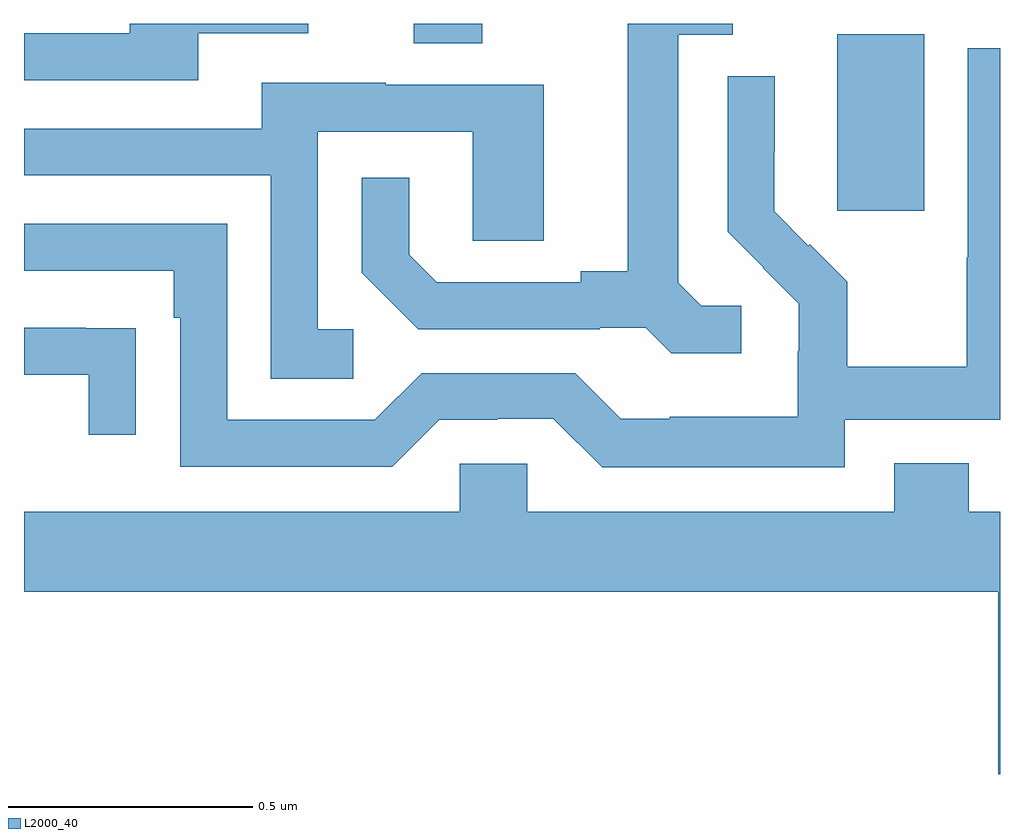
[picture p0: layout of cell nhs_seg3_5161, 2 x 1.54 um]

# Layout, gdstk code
import gdstk
lib = gdstk.Library(unit=1e-6, precision=1e-09)
def R(c, l, rs):  # rectangles x0, y0, x1, y1
    for r in rs: c.add(gdstk.rectangle(r[:2], r[2:], *l))
def P(c, l, *ps):  # polygons
    for p in ps: c.add(gdstk.Polygon(p, *l))
L2000_40 = (2000, 40)

nhs_seg3_5161 = lib.new_cell('nhs_seg3_5161')
R(nhs_seg3_5161, L2000_40, [(176.666,715.017,176.845,715.378), (175.799,715.36,175.939,715.4)])
P(nhs_seg3_5161, L2000_40, [(176.47,714.822),(176.388,714.822),(176.341,714.869),(176.341,715.377),(176.452,715.377),(176.452,715.4),(176.237,715.4),(176.237,714.893),(176.141,714.893),(176.141,714.87),(175.846,714.87),(175.789,714.927),(175.789,715.084),(175.692,715.084),(175.692,714.89),(175.808,714.774),(176.18,714.774),(176.18,714.777),(176.274,714.777),(176.326,714.725),(176.47,714.725)],
  [(175.357,715.38),(175.582,715.38),(175.582,715.4),(175.217,715.4),(175.217,715.38),(175,715.38),(175,715.284),(175.357,715.284)],
  [(176.682,714.588),(177,714.588),(177,715.35),(176.934,715.35),(176.934,714.92),(176.932,714.92),(176.932,714.697),(176.687,714.697),(176.687,714.871),(176.61,714.948),(176.607,714.945),(176.537,715.016),(176.537,715.138),(176.538,715.138),(176.538,715.292),(176.442,715.292),(176.442,714.974),(176.515,714.901),(176.514,714.9),(176.588,714.826),(176.588,714.729),(176.586,714.729),(176.586,714.595),(176.323,714.595),(176.323,714.591),(176.223,714.591),(176.13,714.684),(175.815,714.684),(175.719,714.588),(175.416,714.588),(175.416,714.99),(175,714.99),(175,714.894),(175.307,714.894),(175.307,714.797),(175.32,714.797),(175.32,714.492),(175.755,714.492),(175.851,714.588),(175.97,714.588),(175.97,714.591),(176.085,714.591),(176.185,714.491),(176.682,714.491)],
  [(175.675,714.774),(175.602,714.774),(175.602,715.179),(175.92,715.179),(175.92,714.955),(176.065,714.955),(176.065,715.275),(175.741,715.275),(175.741,715.279),(175.487,715.279),(175.487,715.185),(175,715.185),(175,715.089),(175.506,715.089),(175.506,714.673),(175.675,714.673)],
  [(175.229,714.776),(175.127,714.776),(175.127,714.777),(175,714.777),(175,714.681),(175.133,714.681),(175.133,714.558),(175.229,714.558)],
  [(177,714.4),(176.936,714.4),(176.936,714.499),(176.783,714.499),(176.783,714.4),(176.031,714.4),(176.031,714.498),(175.893,714.498),(175.893,714.4),(175,714.4),(175,714.236),(176.996,714.236),(176.996,713.862),(177,713.862)])

lib.write_gds('nhs_seg3_5161.gds')
